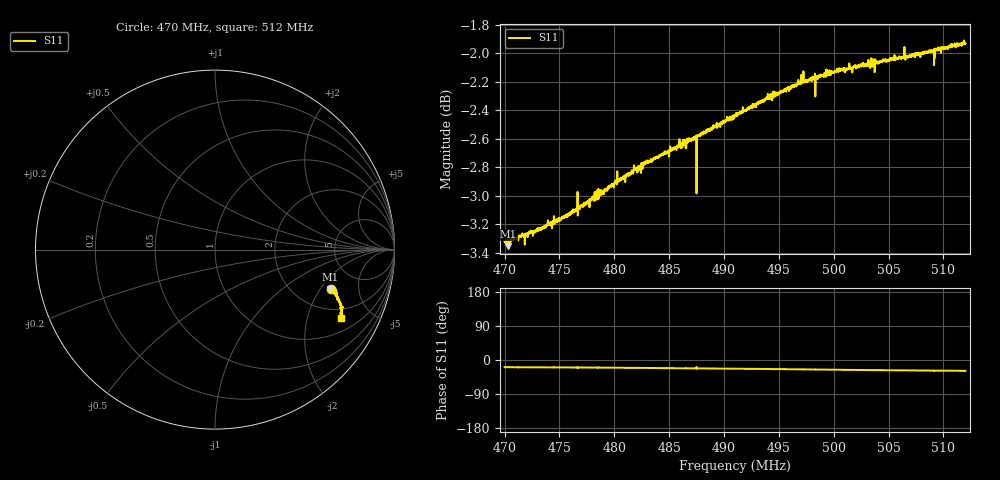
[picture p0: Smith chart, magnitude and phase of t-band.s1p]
! Calibrated averaged scanner-service zoom
# Hz S RI R 50
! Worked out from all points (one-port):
!   4001 points, 470 MHz to 512 MHz, reference 50 ohm
!   lowest |S11| = -3.4 dB at 470.3 MHz (marker M1), VSWR 5.24, Z = 152 - j125 ohm
!   |S11| at or under -10 dB: nowhere
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4.7e8  0.6458 -0.2201
4.70336e8  0.6427 -0.2213
4.726355e8  0.6485 -0.2281
4.7525e8  0.6549 -0.233
4.76888e8  0.6603 -0.2374
4.791665e8  0.6684 -0.245
4.805e8  0.6715 -0.2512
4.81823e8  0.6761 -0.2559
4.82327e8  0.677 -0.257
4.82789e8  0.6787 -0.2599
4.8575e8  0.6846 -0.2734
4.872725e8  0.6872 -0.2787
4.87283e8  0.6877 -0.2789
4.87703e8  0.6879 -0.2802
4.877135e8  0.6884 -0.2808
4.91e8  0.6952 -0.2944
4.94108e8  0.702 -0.3099
4.9625e8  0.7033 -0.3198
4.994525e8  0.7044 -0.3363
5.015e8  0.705 -0.3452
5.025605e8  0.7053 -0.3493
5.03705e8  0.7059 -0.3534
5.0675e8  0.7037 -0.3643
5.08829e8  0.703 -0.3719
5.09018e8  0.7035 -0.3721
5.094065e8  0.7026 -0.3739
5.117375e8  0.7029 -0.3823
5.12e8  0.7034 -0.3825
